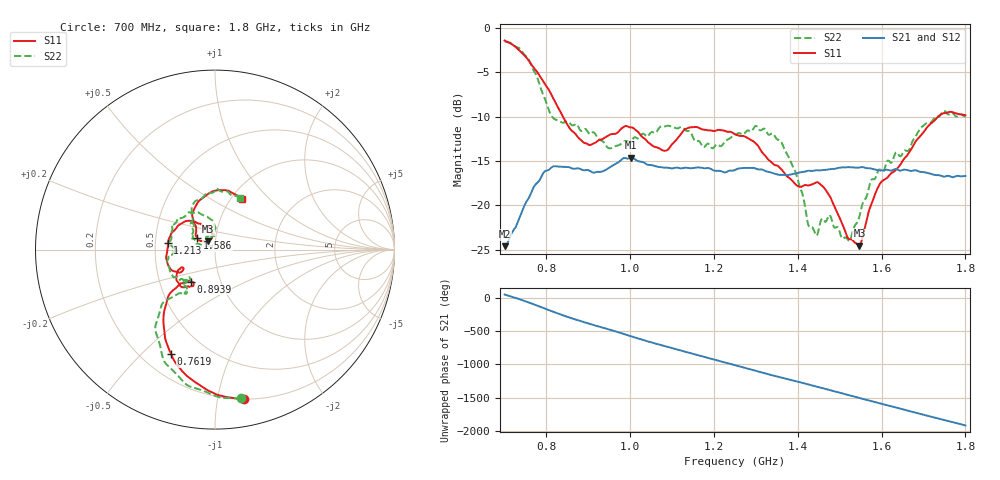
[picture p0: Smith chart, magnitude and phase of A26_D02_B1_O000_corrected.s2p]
! Created with skrf 1.9.0 (http://scikit-rf.org).
# Hz S RI R 50.0
!freq ReS11 ImS11 ReS21 ImS21 ReS12 ImS12 ReS22 ImS22
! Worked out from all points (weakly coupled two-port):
!   1601 points, 700 MHz to 1.8 GHz, reference 50 ohm
!   highest |S21| = -14.62 dB at 1.002 GHz (marker M1); lowest = -24.6 dB at 701.4 MHz (marker M2)
!   lowest |S11| = -24.6 dB at 1.547 GHz (marker M3), VSWR 1.13, Z = 46.2 + j4.25 ohm
!   |S11| at or under -10 dB: 839.2 MHz to 1.735 GHz (895.4 MHz wide, 69.6 % of centre)
!   |S22| runs from -23.9 to -1.5 dB; largest |S21 - S12| = 0.0035
!   S11 on the Smith chart (normalised r, x): 700 MHz: 0.20, -1.19; 761.9 MHz: 0.32, -0.62; 893.9 MHz: 0.72, -0.27; 1.213 GHz: 0.58, +0.05; 1.586 GHz: 0.81, +0.11; 1.8 GHz: 1.12, +0.71
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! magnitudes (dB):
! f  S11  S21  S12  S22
! 700 MHz  -1.4  -24.6  -24.4  -1.5
! 701.4 MHz  -1.5  -24.6  -24.2  -1.5
! 761.9 MHz  -4.0  -18.8  -18.7  -4.0
! 814.1 MHz  -7.7  -15.7  -15.7  -10.1
! 883.6 MHz  -12.7  -16.0  -15.9  -11.6
! 893.9 MHz  -13.0  -16.0  -16.1  -11.4
! 950.2 MHz  -12.0  -15.7  -15.8  -13.6
! 1.002 GHz  -11.2  -14.6  -14.7  -12.7
! 1.067 GHz  -13.5  -15.7  -15.6  -11.4
! 1.139 GHz  -11.2  -15.8  -15.7  -11.6
! 1.213 GHz  -11.5  -16.1  -16.1  -13.3
! 1.25 GHz  -12.0  -16.0  -15.9  -12.1
! 1.3 GHz  -13.0  -15.9  -15.9  -11.0
! 1.359 GHz  -15.8  -16.6  -16.5  -12.7
! 1.434 GHz  -17.6  -16.1  -16.1  -22.4
! 1.476 GHz  -18.9  -15.9  -15.9  -21.1
! 1.522 GHz  -23.8  -15.7  -15.7  -23.9
! 1.547 GHz  -24.6  -15.7  -15.7  -21.3
! 1.586 GHz  -18.5  -16.0  -16.0  -16.8
! 1.617 GHz  -16.7  -16.0  -16.0  -15.0
! 1.737 GHz  -9.9  -16.6  -16.7  -10.0
! 1.8 GHz  -9.9  -16.7  -16.7  -10.0
